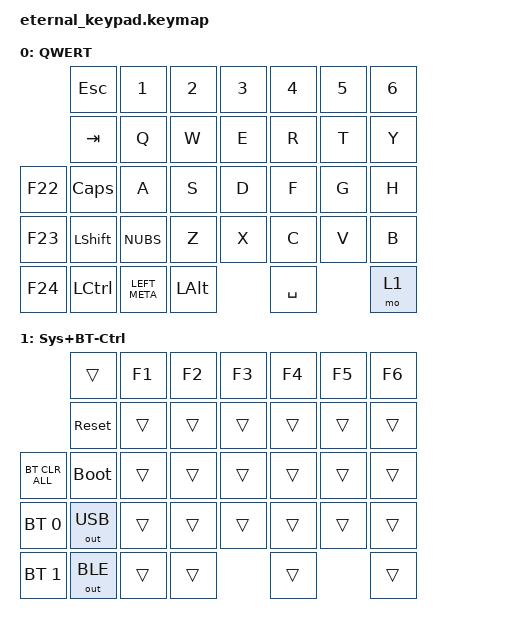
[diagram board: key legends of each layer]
/*
 * Copyright (c) 2022 The ZMK Contributors
 *
 * SPDX-License-Identifier: MIT
 */

#include <behaviors.dtsi>
#include <dt-bindings/zmk/bt.h>
#include <dt-bindings/zmk/keys.h>
#include <dt-bindings/zmk/outputs.h>

#define BASE        0
#define ARROW       1
#define FUNC        2

/ {
    chosen {
        zmk,kscan = &kscan0;
        zmk,matrix-transform = &default_transform;
    };

    keymap {
        compatible = "zmk,keymap";

        QWERT {
            bindings = <
         &kp ESC       &kp N1         &kp N2    &kp N3  &kp N4     &kp N5  &kp N6
         &kp TAB       &kp Q          &kp W     &kp E   &kp R      &kp T   &kp Y
&kp F22  &kp CAPSLOCK  &kp A          &kp S     &kp D   &kp F      &kp G   &kp H
&kp F23  &kp LSHFT     &kp NUBS       &kp Z     &kp X   &kp C      &kp V   &kp B
&kp F24  &kp LCTRL     &kp LEFT_META  &kp LALT          &kp SPACE          &mo 1
            >;
        };

        Sys+BT-Ctrl {
            bindings = <
                &trans        &kp F1  &kp F2  &kp F3  &kp F4  &kp F5  &kp F6
                &sys_reset    &trans  &trans  &trans  &trans  &trans  &trans
&bt BT_CLR_ALL  &bootloader   &trans  &trans  &trans  &trans  &trans  &trans
&bt BT_SEL 0    &out OUT_USB  &trans  &trans  &trans  &trans  &trans  &trans
&bt BT_SEL 1    &out OUT_BLE  &trans  &trans          &trans          &trans
            >;
        };
    };
};
